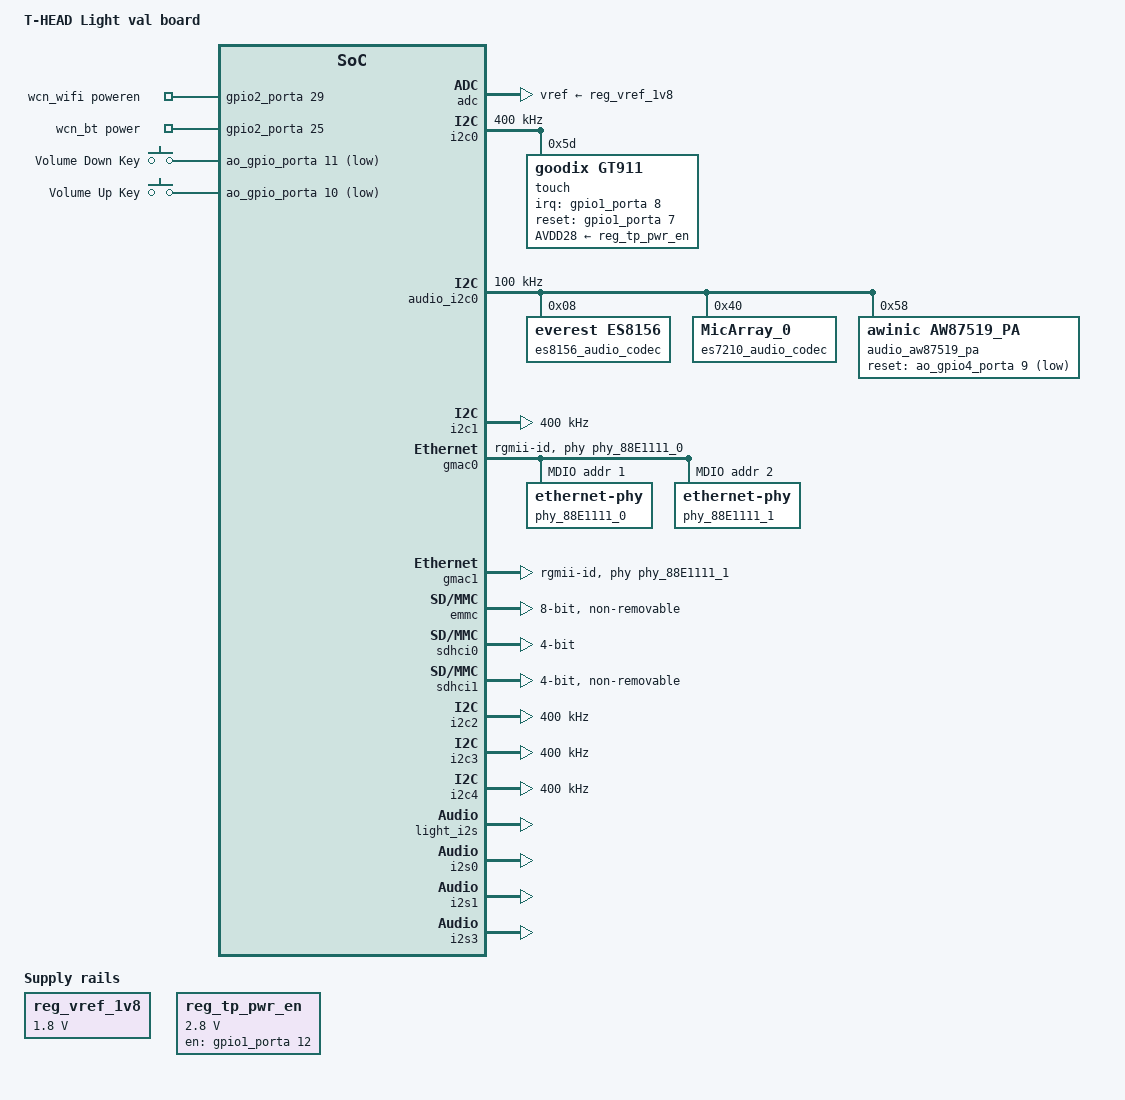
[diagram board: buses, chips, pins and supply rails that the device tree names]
/* SPDX-License-Identifier: GPL-2.0 */
/*
 * Copyright (C) 2021 Alibaba Group Holding Limited.
 */

/dts-v1/;

#include "light.dtsi"
#include <dt-bindings/input/linux-event-codes.h>
#include <dt-bindings/gpio/gpio.h>
#include "light-vi-devices.dtsi"
/ {
	model = "T-HEAD Light val board";
	compatible = "thead,light-val", "thead,light";

	chosen {
		bootargs = "console=ttyS0,115200 earlycon";
		stdout-path = "serial0:115200n8";
	};

	leds {
		compatible = "gpio-leds";
		status = "disabled";
		led0 {
			label = "SYS_STATUS";
			gpios = <&gpio1_porta 15 0>;	/* GPIO_ACTIVE_HIGH: 0 */
			default-state = "off";
		};
	};

	display-subsystem {
		status = "okay";
	};

	lcd0_backlight: pwm-backlight@0 {
		status = "disabled";
		compatible = "pwm-backlight";
		pwms = <&pwm 0 5000000>;
		brightness-levels = <0 4 8 16 32 64 128 255>;
		default-brightness-level = <7>;
	};

	light_iopmp: iopmp {
		status = "disabled";
		compatible = "thead,light-iopmp";

		/* config#1: multiple valid regions */
		iopmp_emmc: IOPMP_EMMC {
			regions = <0x000000 0x100000>,
				  <0x100000 0x200000>;
			attr = <0xFFFFFFFF>;
			dummy_slave= <0x800000>;
		};

		/* config#2: iopmp bypass */
		iopmp_sdio0: IOPMP_SDIO0 {
			bypass_en;
		};

		/* config#3: iopmp default region set */
		iopmp_sdio1: IOPMP_SDIO1 {
			attr = <0xFFFFFFFF>;
			is_default_region;
		};

		iopmp_usb0: IOPMP_USB0 {
			attr = <0xFFFFFFFF>;
			is_default_region;
		};

		iopmp_ao: IOPMP_AO {
			is_default_region;
		};

		iopmp_aud: IOPMP_AUD {
			is_default_region;
		};

		iopmp_chip_dbg: IOPMP_CHIP_DBG {
			is_default_region;
		};

		iopmp_eip120i: IOPMP_EIP120I {
			is_default_region;
		};

		iopmp_eip120ii: IOPMP_EIP120II {
			is_default_region;
		};

		iopmp_eip120iii: IOPMP_EIP120III {
			is_default_region;
		};

		iopmp_isp0: IOPMP_ISP0 {
			is_default_region;
		};

		iopmp_isp1: IOPMP_ISP1 {
			is_default_region;
		};

		iopmp_dw200: IOPMP_DW200 {
			is_default_region;
		};

		iopmp_vipre: IOPMP_VIPRE {
			is_default_region;
		};

		iopmp_venc: IOPMP_VENC {
			is_default_region;
		};

		iopmp_vdec: IOPMP_VDEC {
			is_default_region;
		};

		iopmp_g2d: IOPMP_G2D {
			is_default_region;
		};

		iopmp_fce: IOPMP_FCE {
			is_default_region;
		};

		iopmp_npu: IOPMP_NPU {
			is_default_region;
		};

		iopmp0_dpu: IOPMP0_DPU {
			bypass_en;
		};

		iopmp1_dpu: IOPMP1_DPU {
			bypass_en;
		};

		iopmp_gpu: IOPMP_GPU {
			is_default_region;
		};

		iopmp_gmac1: IOPMP_GMAC1 {
			is_default_region;
		};

		iopmp_gmac2: IOPMP_GMAC2 {
			is_default_region;
		};

		iopmp_dmac: IOPMP_DMAC {
			is_default_region;
		};

		iopmp_tee_dmac: IOPMP_TEE_DMAC {
			is_default_region;
		};

		iopmp_dsp0: IOPMP_DSP0 {
			is_default_region;
		};

		iopmp_dsp1: IOPMP_DSP1 {
			is_default_region;
		};
	};

	mbox_910t_client1: mbox_910t_client1 {
		compatible = "thead,light-mbox-client";
		mbox-names = "902";
		mboxes = <&mbox_910t 1 0>;
		status = "disabled";
	};


	mbox_910t_client2: mbox_910t_client2 {
		compatible = "thead,light-mbox-client";
		mbox-names = "906";
		mboxes = <&mbox_910t 2 0>;
		status = "disabled";
	};

	lightsound: lightsound@1 {
		compatible = "simple-audio-card";
		simple-audio-card,name = "Light-Sound-Card";

		#address-cells = <1>;
		#size-cells = <0>;

		status = "disabled";
	};

	dummy_codec: dummy_codec {
		#sound-dai-cells = <1>;
		compatible = "linux,bt-sco";
		status = "okay";
	};

	reg_vref_1v8: regulator-adc-verf {
			compatible = "regulator-fixed";
			regulator-name = "vref-1v8";
			regulator-min-microvolt = <1800000>;
			regulator-max-microvolt = <1800000>;
	status = "okay";
	};

        reg_tp_pwr_en: regulator-pwr-en {
                compatible = "regulator-fixed";
                regulator-name = "PWR_EN";
                regulator-min-microvolt = <2800000>;
                regulator-max-microvolt = <2800000>;
                gpio = <&gpio1_porta 12 1>;
                enable-active-high;
                regulator-always-on;
        };

	wcn_wifi: wireless-wlan {
		compatible = "wlan-platdata";
		clock-names = "clk_wifi";
		ref-clock-frequency = <24000000>;
		keep_wifi_power_on;
		pinctrl-names = "default";
		wifi_chip_type = "rtl8723ds";
		WIFI,poweren_gpio = <&gpio2_porta 29 0>;
		WIFI,reset_n = <&gpio2_porta 24 0>;
		status = "okay";
	};

	wcn_bt: wireless-bluetooth {
		compatible = "bluetooth-platdata";
		pinctrl-names = "default", "rts_gpio";
		BT,power_gpio    = <&gpio2_porta 25 0>;
		status = "okay";
	};

	gpio-keys {
		compatible = "gpio-keys";
		pinctrl-0 = <&pinctrl_volume>;
		pinctrl-names = "default";
		key-volumedown {
			label = "Volume Down Key";
			linux,code = <KEY_VOLUMEDOWN>;
			debounce-interval = <1>;
			gpios = <&ao_gpio_porta 11 0x1>;
		};
		key-volumeup {
			label = "Volume Up Key";
			linux,code = <KEY_VOLUMEUP>;
			debounce-interval = <1>;
			gpios = <&ao_gpio_porta 10 0x1>;
		};
	};

	aon: light-aon {
		compatible = "thead,light-aon";
		mbox-names = "aon";
		mboxes = <&mbox_910t 1 0>;
		status = "okay";

		pd: light-aon-pd {
			compatible = "thead,light-aon-pd";
			#power-domain-cells = <1>;
		};

		c910_cpufreq {
			compatible = "thead,light-mpw-cpufreq";
			status = "okay";
		};

		test: light-aon-test {
			compatible = "thead,light-aon-test";
		};
	};
};

&resmem {
	#address-cells = <2>;
	#size-cells = <2>;
	ranges;

	tee_mem: memory@1a000000 {
		reg = <0x0 0x1a000000 0 0x4000000>;
		no-map;
	};

	dsp0_mem: memory@20000000 {             /**0x2000_0000~0x2040_0000 4M**/
		reg = <0x0 0x20000000 0x0 0x00280000   /* DSP FW code&data section 2.5M*/ 
               0x0 0x20280000 0x0 0x00001000   /* DSP communication area 4K*/ 
               0x0 0x20281000 0x0 0x00007000  /* Panic/log page 28K */
               0x0 0x20288000 0x0 0x00178000>;  /* DSP shared memory 1.5M-32K*/
		no-map;
	};
    dsp1_mem: memory@20400000 {             /**0x2040_0000~0x2080_0000 4M**/
        reg = <0x0 0x20400000 0x0 0x00280000  /* DSP FW code&data section */ 
               0x0 0x20680000 0x0 0x00001000 /* DSP communication area */
               0x0 0x20681000 0x0 0x00007000    /* Panic/log page*/ 
               0x0 0x20688000 0x0 0x00178000>;  /* DSP shared memory */
        no-map;
    };
	vi_mem: framebuffer@10000000 {
		reg = <0x0 0x10000000 0x0 0x02C00000	/* vi_mem_pool_region[0]  44 MB (default) */
		       0x0 0x12C00000 0x0 0x01D00000	/* vi_mem_pool_region[1]  29 MB */
		       0x0 0x14900000 0x0 0x01E00000>;	/* vi_mem_pool_region[2]  30 MB */
		no-map;
	};
	facelib_mem: memory@17000000 {
		reg = <0x0 0x17000000 0 0x02000000>;
		no-map;
	};
};

&adc {
	vref-supply = <&reg_vref_1v8>;
	status = "okay";
};

&i2c0 {
	clock-frequency = <100000>;
	status = "okay";

       touch@5d {
               #gpio-cells = <2>;
               compatible = "goodix,gt911";
               reg = <0x5d>;
               interrupt-parent = <&gpio1_porta>;
               interrupts = <8 0>;
               irq-gpios = <&gpio1_porta 8 0>;
               reset-gpios = <&gpio1_porta 7 0>;
               AVDD28-supply = <&reg_tp_pwr_en>;
               touchscreen-size-x = <800>;
               touchscreen-size-y = <1280>;
       };

};

&audio_i2c0 {
        clock-frequency = <100000>;
        status = "okay";

       es8156_audio_codec: es8156@8 {
               #sound-dai-cells = <0>;
               compatible = "everest,es8156";
               reg = <0x08>;
       };

        es7210_audio_codec: es7210@40 {
                #sound-dai-cells = <0>;
                compatible = "MicArray_0";
                reg = <0x40>;
        };

	audio_aw87519_pa@58 {
		compatible = "awinic,aw87519_pa";
		reg = <0x58>;
		reset-gpio = <&ao_gpio4_porta 9 0x1>;
		status = "okay";
	};
};

&i2c1 {
        clock-frequency = <100000>;
        status = "okay";
};

&spi0 {
	num-cs = <1>;
	cs-gpios = <&gpio2_porta 15 0>; // GPIO_ACTIVE_HIGH: 0
	rx-sample-delay-ns = <10>;
	status = "disabled";

	spi_norflash@0 {
		#address-cells = <1>;
		#size-cells = <1>;
		compatible = "winbond,w25q64jwm", "jedec,spi-nor";
		reg = <0>;
		spi-max-frequency = <50000000>;
		w25q,fast-read;
	};

	spidev@1 {
		compatible = "spidev";
		#address-cells = <0x1>;
		#size-cells = <0x1>;
		reg = <0x1>;
		spi-max-frequency = <50000000>;
	};
};

&uart0 {
	clocks = <&dummy_clock_uart_sclk>;
	clock-names = "baudclk";
	clock-frequency = <100000000>;
};

&qspi0 {
	num-cs = <1>;
	cs-gpios = <&gpio2_porta 3 0>;
	rx-sample-dly = <4>;
	status = "disabled";

	spi-flash@0 {
		#address-cells = <1>;
		#size-cells = <1>;
		compatible = "spi-nand";
		spi-max-frequency = <100000000>;
		spi-tx-bus-width = <4>;
		spi-rx-bus-width = <4>;
		reg = <0>;

		partition@0 {
			label = "ubi1";
			reg = <0x00000000 0x08000000>;
		};
	};
};

&qspi1 {
	compatible = "snps,dw-apb-ssi";
	num-cs = <1>;
	cs-gpios = <&gpio0_porta 1 0>;
	status = "disabled";

	spidev@0 {
		compatible = "spidev";
		#address-cells = <0x1>;
		#size-cells = <0x1>;
		reg = <0x0>;
		spi-max-frequency = <50000000>;
	};
};

&gmac0 {
	phy-mode = "rgmii-id";
	rx-clk-delay = <0x00>; /* for RGMII */
	tx-clk-delay = <0x00>; /* for RGMII */
	phy-handle = <&phy_88E1111_0>;
	status = "okay";

	mdio0 {
		#address-cells = <1>;
		#size-cells = <0>;
		compatible = "snps,dwmac-mdio";

		phy_88E1111_0: ethernet-phy@0 {
			reg = <0x1>;
		};

		phy_88E1111_1: ethernet-phy@1 {
			reg = <0x2>;
		};
	};
};

&gmac1 {
	phy-mode = "rgmii-id";
	rx-clk-delay = <0x00>; /* for RGMII */
	tx-clk-delay = <0x00>; /* for RGMII */
	phy-handle = <&phy_88E1111_1>;
	status = "okay";
};

&emmc {
	max-frequency = <198000000>;
	non-removable;
	mmc-hs400-1_8v;
	io_fixed_1v8;
	is_emmc;
	no-sdio;
	no-sd;
	pull_up;
	bus-width = <8>;
	status = "okay";
};

&sdhci0 {
	max-frequency = <198000000>;
	bus-width = <4>;
	pull_up;
	wprtn_ignore;
	status = "okay";
};

&sdhci1 {
	max-frequency = <100000000>;
	bus-width = <4>;
	pull_up;
	no-sd;
	no-mmc;
	non-removable;
	io_fixed_1v8;
	post-power-on-delay-ms = <50>;
	wprtn_ignore;
	cap-sd-highspeed;
	keep-power-in-suspend;
	wakeup-source;
	status = "okay";
};

&padctrl0_apsys { /* right-pinctrl */
	light-evb-padctrl0 {
			/*
			 * Pin Configuration Node:
			 * Format: <pin_id mux_node config>
			 */
			pinctrl_uart0: uart0grp {
				thead,pins = <
					FM_UART0_TXD	0x0	0x72
					FM_UART0_RXD	0x0	0x72
				>;
			};

			pinctrl_spi0: spi0grp {
				thead,pins = <
					FM_SPI_CSN	0x3	0x20a
					FM_SPI_SCLK	0x0	0x20a
					FM_SPI_MISO	0x0	0x23a
					FM_SPI_MOSI	0x0	0x23a
				>;
			};

			pinctrl_qspi0: qspi0grp {
				thead,pins = <
					FM_QSPI0_SCLK    0x0    0x20f
					FM_QSPI0_CSN0    0x3    0x20f
					FM_QSPI0_CSN1    0x0    0x20f
					FM_QSPI0_D0_MOSI 0x0    0x23f
					FM_QSPI0_D1_MISO 0x0    0x23f
					FM_QSPI0_D2_WP   0x0    0x23f
					FM_QSPI0_D3_HOLD 0x0    0x23f
				>;
			};

			pinctrl_audio_i2s0: i2s0grp {
				thead,pins = <
					FM_QSPI0_SCLK    0x2    0x208
					FM_QSPI0_CSN0    0x2    0x238
					FM_QSPI0_CSN1    0x2    0x208
					FM_QSPI0_D0_MOSI 0x2    0x238
					FM_QSPI0_D1_MISO 0x2    0x238
					FM_QSPI0_D2_WP   0x2    0x238
					FM_QSPI0_D3_HOLD 0x2    0x238
				>;
			};

			pinctrl_pwm: pwmgrp {
				thead,pins = <
					FM_GPIO3_2	0x1	0x208	/* pwm0 */
				>;
			};
		};
};

&padctrl1_apsys { /* left-pinctrl */
	light-evb-padctrl1 {
			/*
			 * Pin Configuration Node:
			 * Format: <pin_id mux_node config>
			 */
			pinctrl_uart3: uart3grp {
				thead,pins = <
					FM_UART3_TXD	0x0	0x72
					FM_UART3_RXD	0x0	0x72
				>;
			};

			pinctrl_uart4: uart4grp {
				thead,pins = <
					FM_UART4_TXD	0x0	0x72
					FM_UART4_RXD	0x0	0x72
					FM_UART4_CTSN	0x0	0x72
					FM_UART4_RTSN	0x0	0x72
				>;
			};

			pinctrl_qspi1: qspi1grp {
				thead,pins = <
					FM_QSPI1_SCLK    0x0    0x20a
					FM_QSPI1_CSN0    0x3    0x20a
					FM_QSPI1_D0_MOSI 0x0    0x23a
					FM_QSPI1_D1_MISO 0x0    0x23a
					FM_QSPI1_D2_WP   0x0    0x23a
					FM_QSPI1_D3_HOLD 0x0    0x23a
				>;
			};


			pinctrl_iso7816: iso7816grp {
				thead,pins = <
					FM_QSPI1_SCLK		0x1	0x208
					FM_QSPI1_D0_MOSI	0x1	0x238
					FM_QSPI1_D1_MISO	0x1	0x238
					FM_QSPI1_D2_WP		0x1	0x238
					FM_QSPI1_D3_HOLD	0x1	0x238
				>;
			};

		};
};

&padctrl_aosys {
	light-aon-padctrl {
			/*
			 * Pin Configuration Node:
			 * Format: <pin_id mux_node config>
			 */

			pinctrl_audiopa1: audiopa1_grp {
				thead,pins = <
					FM_AUDIO_PA1	0x3	0x72
				>;
			};

			pinctrl_audiopa2: audiopa2_grp {
				thead,pins = <
					FM_AUDIO_PA2	0x0	0x72
				>;
			};

			pinctrl_volume: volume_grp {
				thead,pins = <
					FM_AOGPIO_11  0x0     0x208
					FM_AOGPIO_10  0x3     0x208
				>;
			};
	};
};

&i2c0 {
	clock-frequency = <400000>;
	status = "okay";
};

&i2c1 {
	clock-frequency = <400000>;
	status = "okay";
};

&i2c2 {
	clock-frequency = <400000>;
	status = "okay";
};

&i2c3 {
	clock-frequency = <400000>;
	status = "okay";
};

&i2c4 {
	clock-frequency = <400000>;
	status = "okay";
};

&isp0 {
	status = "disabled";
};

&isp1 {
	status = "disabled";
};

&isp_ry0 {
	status = "disabled";
};

&dewarp {
	status = "disabled";
};

&dec400_isp0 {
	status = "disabled";
};

&dec400_isp1 {
	status = "disabled";
};

&dec400_isp2 {
	status = "disabled";
};

&bm_visys {
	status = "disabled";
};

&bm_csi0 {
	status = "disabled";
};

&bm_csi1 {
	status = "disabled";
};

&bm_csi2 {
	status = "disabled";
};

&vi_pre {
	status = "disabled";
};

&xtensa_dsp {
	status = "disabled";
};

&xtensa_dsp0 {
	status = "disabled";
};

&xtensa_dsp1 {
	status = "disabled";
};

&vvcam_flash_led0{
       status = "disabled";
};


&vvcam_sensor0 {
	status = "disabled";
};

&vvcam_sensor1 {
	status = "disabled";
};

&vvcam_sensor2 {
	status = "disabled";
};

&vvcam_sensor3 {
	status = "disabled";
};

&vvcam_sensor4 {
    status = "disabled";
};

&vvcam_sensor5 {
    status = "disabled";
};

&video0{
	status = "disabled";
};


&video1{
	status = "disabled";
};

&video2{
	status = "disabled";
};

&video3{
	status = "disabled";
};

&video4{
	status = "disabled";
};

&video5{
	status = "disabled";
};

&video6{
	status = "disabled";
};

&video7{
	status = "disabled";
};


&video8{
	status = "disabled";
};

&video9{
	status = "disabled";
};


&video10{
	status = "disabled";
};

&video11{
	status = "disabled";
};

&video12{
	status = "disabled";
};

&trng {
	status = "disabled";
};

&eip_28 {
	status = "disabled";
};

&vdec {
	status = "disabled";
};

&venc {
	status = "disabled";
};

&isp_venc_shake {
	status = "disabled";
};

&vidmem {
	status = "disabled";
};

&gpu {
	status = "disabled";
};

&npu {
	status = "disabled";
};

&fce {
	status = "disabled";
};

&dpu_enc0 {
	status = "disabled";
};

&dpu_enc1 {
	status = "disabled";
};

&dpu {
        status = "disabled";
};

&dsi0 {
        status = "disabled";
};

&dhost_0 {
	status = "disabled";
};

&disp1_out {
	status = "disabled";
};

&hdmi_tx {
	status = "disabled";
};

&lightsound {
        status = "disabled";
};

&light_i2s {
        status = "okay";
};

&i2s0 {
        status = "okay";
};

&i2s1 {
        status = "okay";
};

&i2s3 {
        status = "okay";
};

&khvhost {
	status = "disabled";
};
